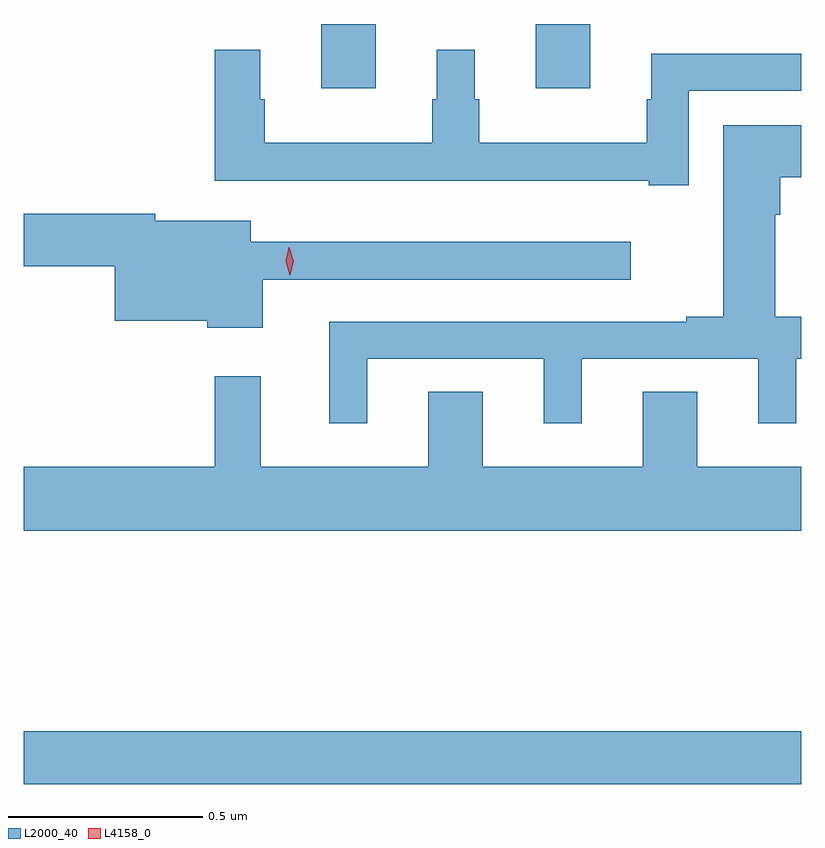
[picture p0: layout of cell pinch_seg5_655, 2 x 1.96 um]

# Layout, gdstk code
import gdstk
lib = gdstk.Library(unit=1e-6, precision=1e-09)
def R(c, l, rs):  # rectangles x0, y0, x1, y1
    for r in rs: c.add(gdstk.rectangle(r[:2], r[2:], *l))
def P(c, l, *ps):  # polygons
    for p in ps: c.add(gdstk.Polygon(p, *l))
L2000_40 = (2000, 40)
L4158_0 = (4158, 0)

pinch_seg5_655 = lib.new_cell('pinch_seg5_655')
R(pinch_seg5_655, L2000_40, [(1018.478,834.796,1020.478,834.932), (1019.243,836.586,1019.383,836.752), (1019.795,836.586,1019.935,836.752)])
P(pinch_seg5_655, L2000_40, [(1020.189,836.58),(1020.478,836.58),(1020.478,836.676),(1020.092,836.676),(1020.092,836.558),(1020.081,836.558),(1020.081,836.446),(1019.65,836.446),(1019.65,836.558),(1019.638,836.558),(1019.638,836.686),(1019.54,836.686),(1019.54,836.558),(1019.529,836.558),(1019.529,836.446),(1019.098,836.446),(1019.098,836.558),(1019.086,836.558),(1019.086,836.686),(1018.969,836.686),(1018.969,836.348),(1020.086,836.348),(1020.086,836.337),(1020.189,836.337)],
  [(1019.362,835.89),(1019.816,835.89),(1019.816,835.725),(1019.914,835.725),(1019.914,835.89),(1020.368,835.89),(1020.368,835.725),(1020.466,835.725),(1020.466,835.89),(1020.478,835.89),(1020.478,835.999),(1020.412,835.999),(1020.412,836.261),(1020.425,836.261),(1020.425,836.357),(1020.478,836.357),(1020.478,836.491),(1020.278,836.491),(1020.278,835.999),(1020.182,835.999),(1020.182,835.986),(1019.264,835.986),(1019.264,835.725),(1019.362,835.725)],
  [(1019.092,836.094),(1020.04,836.094),(1020.04,836.191),(1019.062,836.191),(1019.062,836.245),(1018.816,836.245),(1018.816,836.264),(1018.478,836.264),(1018.478,836.128),(1018.712,836.128),(1018.712,835.988),(1018.95,835.988),(1018.95,835.97),(1019.092,835.97)],
  [(1020.478,835.612),(1020.211,835.612),(1020.211,835.805),(1020.071,835.805),(1020.071,835.612),(1019.659,835.612),(1019.659,835.805),(1019.519,835.805),(1019.519,835.612),(1019.087,835.612),(1019.087,835.846),(1018.969,835.846),(1018.969,835.612),(1018.478,835.612),(1018.478,835.448),(1020.478,835.448)])
P(pinch_seg5_655, L4158_0, [(1019.162,836.106),(1019.152,836.141),(1019.16,836.177),(1019.161,836.177),(1019.161,836.177),(1019.172,836.142),(1019.163,836.106),(1019.163,836.106)])

lib.write_gds('pinch_seg5_655.gds')
